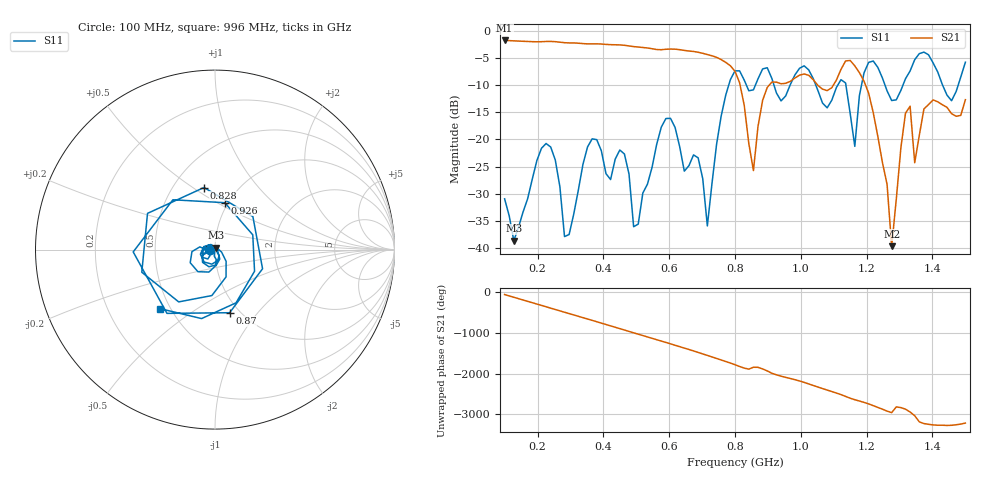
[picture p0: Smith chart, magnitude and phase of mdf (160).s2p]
! NanoVNA-App
! Date: 2025-09-25 15:39:40
! Start: 100MHz Stop: 1,5GHz Points: 101
! S-Parameter data: F S11 S21 S12 S22
# Hz S RI R 50
!  Frequency  S11_Real  S11_Imag  S21_Real  S21_Imag  S12_Real  S12_Imag  S22_Real  S22_Imag
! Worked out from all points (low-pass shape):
!   101 points, 100 MHz to 1.5 GHz, reference 50 ohm
!   highest |S21| = -1.81 dB at 100 MHz (marker M1); lowest = -39.6 dB at 1.276 GHz (marker M2)
!   |S21| within 3 dB of the highest: start of sweep to 739.1 MHz
!   lowest |S11| = -38.6 dB at 128 MHz (marker M3), VSWR 1.02, Z = 50.4 + j1.11 ohm
!   |S11| at or under -10 dB: start of sweep to 781 MHz; 1.045 GHz to 1.112 GHz (67.05 MHz wide, 6.21 % of centre); 1.256 GHz to 1.31 GHz (54.81 MHz wide, 4.27 % of centre) (the widest 3 of 7)
!   S12 and S22 are empty: the file has one direction only
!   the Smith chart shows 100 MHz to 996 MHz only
!   S11 on the Smith chart (normalised r, x): 100 MHz: 0.95, -0.01; 828 MHz: 0.70, +0.56; 870 MHz: 0.90, -0.73; 926 MHz: 0.97, +0.54; 996 MHz: 0.44, -0.36
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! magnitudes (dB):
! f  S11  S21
! 100 MHz  -30.9  -1.8
! 128 MHz  -38.6  -1.9
! 212 MHz  -21.6  -2.0
! 282 MHz  -37.9  -2.2
! 338 MHz  -24.6  -2.4
! 464 MHz  -22.7  -2.7
! 492 MHz  -36.0  -2.9
! 576 MHz  -17.7  -3.5
! 716 MHz  -35.9  -4.4
! 800 MHz  -7.4  -7.5
! 828 MHz  -9.1  -13.7
! 856 MHz  -10.9  -25.7
! 870 MHz  -8.8  -17.6
! 926 MHz  -11.5  -9.5
! 996 MHz  -6.9  -8.2
! 1.038 GHz  -8.8  -9.0
! 1.164 GHz  -21.3  -6.5
! 1.192 GHz  -7.8  -9.3
! 1.276 GHz  -12.8  -39.6
! 1.318 GHz  -8.8  -15.2
! 1.346 GHz  -5.3  -24.3
! 1.5 GHz  -5.8  -12.7
